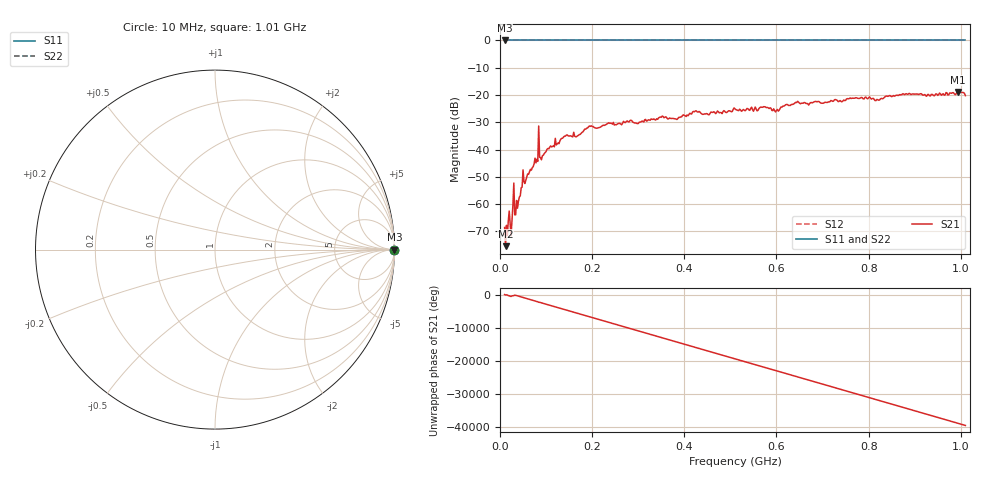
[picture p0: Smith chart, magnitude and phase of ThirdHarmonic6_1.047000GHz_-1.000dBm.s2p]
! 8/16/2025 9:11:43 AM
! C:\ANRITSUVNA\TEMP\TEMP.S2P
! CHANNEL.1
! TR.MEASUREMENT
! RAW.DATA
! RF.CORRECTION.OFF
! AVERAGING.OFF
! IF.BANDWIDTH: 5KHZ
! SWEEPTYPE:  FREQ.SWEEP(Linear)
! Reference Plane Port Info
! PORT:  PORT1  PORT2
! DISTANCE:  0  m  0  m
! TIME:  0  s  0  s
! PHASE.OFFSET:  0  deg.  0  deg.
! LOSS:  0  dB  0  dB
! REF.LOSS:  0  dB  0  dB
! REF.FREQ:  0  Hz  0  Hz
! Power Info
! POWER:  -20  dBm  -20  dBm
! EFF.POWER:  -20  dBm  -20  dBm
! SOURCE.ATTEN:  0  dB  0  dB
! TEST.ATTEN:  0  dB  0  dB
# GHZ S RI R 50.0
! FREQ.GHZ  S11RE  S11IM  S21RE  S21IM  S12RE  S12IM  S22RE  S22IM
!; PortSelection: Port_12
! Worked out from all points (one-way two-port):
!   501 points, 10 MHz to 1.01 GHz, reference 50 ohm
!   highest |S21| = -18.84 dB at 994 MHz (marker M1); lowest = -75.4 dB at 12 MHz (marker M2)
!   lowest |S11| = 0.0 dB at 10 MHz (marker M3)
!   |S11| at or under -10 dB: nowhere
!   |S22| runs from 0.0 to 0.0 dB; largest |S21 - S12| = 1.1
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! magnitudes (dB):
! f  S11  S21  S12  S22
! 10 MHz  0.0  -68.5  0.0  0.0
! 12 MHz  0.0  -75.4  0.0  0.0
! 18 MHz  0.0  -66.1  0.0  0.0
! 20 MHz  0.0  -62.5  0.0  0.0
! 32 MHz  0.0  -63.9  0.0  0.0
! 36 MHz  0.0  -58.6  0.0  0.0
! 50 MHz  0.0  -47.4  0.0  0.0
! 78 MHz  0.0  -44.9  0.0  0.0
! 80 MHz  0.0  -43.5  0.0  0.0
! 88 MHz  0.0  -42.9  0.0  0.0
! 90 MHz  0.0  -43.7  0.0  0.0
! 142 MHz  0.0  -35.1  0.0  0.0
! 178 MHz  0.0  -33.7  0.0  0.0
! 196 MHz  0.0  -31.5  0.0  0.0
! 344 MHz  0.0  -28.4  0.0  0.0
! 510 MHz  0.0  -25.1  0.0  0.0
! 600 MHz  0.0  -25.6  0.0  0.0
! 644 MHz  0.0  -22.7  0.0  0.0
! 678 MHz  0.0  -22.9  0.0  0.0
! 844 MHz  0.0  -20.3  0.0  0.0
! 994 MHz  0.0  -18.8  0.0  0.0
! 1.01 GHz  0.0  -20.2  0.0  0.0
